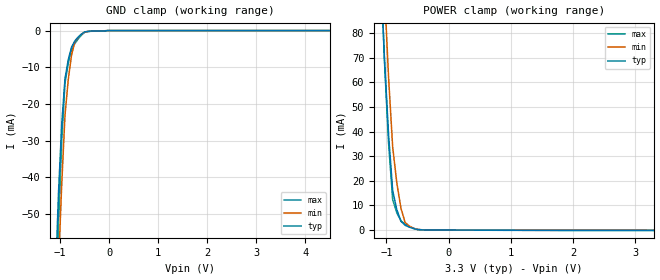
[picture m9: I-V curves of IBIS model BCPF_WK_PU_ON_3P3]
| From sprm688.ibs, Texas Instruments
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|BCPF_WK_PD_ON_3P3; WEAK_PULLDOWN_ON
|   Model Cell BCPF_WK_PU_ON_3P3
|BCPF_WK_PU_ON_3P3
[Model]   BCPF_WK_PU_ON_3P3
Model_type   Input
Polarity   Non-Inverting
Vinl =  0.8
Vinh =  2
C_comp   1.21982p   0.982413p   1.3757p
[Model Spec]
Vinl   0.8   0.8   0.8
Vinh   2   2   2
[Temperature Range]   25   155   -40
[Voltage Range]   3.3   2.97   3.63
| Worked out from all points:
|   GND clamp passes 1 mA (typ) near -0.57 V on its own axis
|   POWER clamp passes 1 mA (typ) near -0.61 V on its own axis
| Nom Voltages:
|   BIASFET=3.3, VDD=1.2, VDDS=3.3, VSS=0
| Min Voltages:
|   BIASFET=2.97, VDD=1.08, VDDS=2.97, VSS=0
| Max Voltages:
|   BIASFET=3.63, VDD=1.32, VDDS=3.63, VSS=0
[POWER_clamp]
|   voltage   I(typ)   I(min)   I(max)
-3.3V     1.919A     2.431A     2.069A
-1.1V     109.8mA    140.8mA    113.2mA
-1.033V   70.21mA    98.04mA    69.24mA
-966.7mV  38.95mA    62.35mA    35.63mA
-900mV    16.03mA    33.73mA    12.36mA
-833.3mV  8.266mA    19.09mA    7.029mA
-766.7mV  3.571mA    8.879mA    3.722mA
-700mV    1.939mA    3.079mA    2.444mA
-566.7mV  603.9uA    711.2uA    759.2uA
-500mV    195.8uA    269.7uA    227.2uA
-366.7mV  40.85uA    44.56uA    53.2uA
3.3V      -108.8uA   -62.99uA   -174uA
[GND_clamp]
|   voltage   I(typ)   I(min)   I(max)
-3.3V     -1.48A     -1.41A     -2.182A
-1.1V     -69.91mA   -89.89mA   -82.68mA
-1.033V   -44.46mA   -64.18mA   -52.64mA
-966.7mV  -25.52mA   -41.89mA   -29.83mA
-900mV    -13.08mA   -23mA      -14.24mA
-833.3mV  -7.945mA   -13.29mA   -8.83mA
-766.7mV  -4.523mA   -6.66mA    -5.269mA
-700mV    -2.817mA   -3.105mA   -3.556mA
-566.7mV  -980.5uA   -1.002mA   -1.249mA
-500mV    -376.2uA   -438.1uA   -476.5uA
-33.33mV  0A         0A         0A
6.6V      0A         0A         0A
